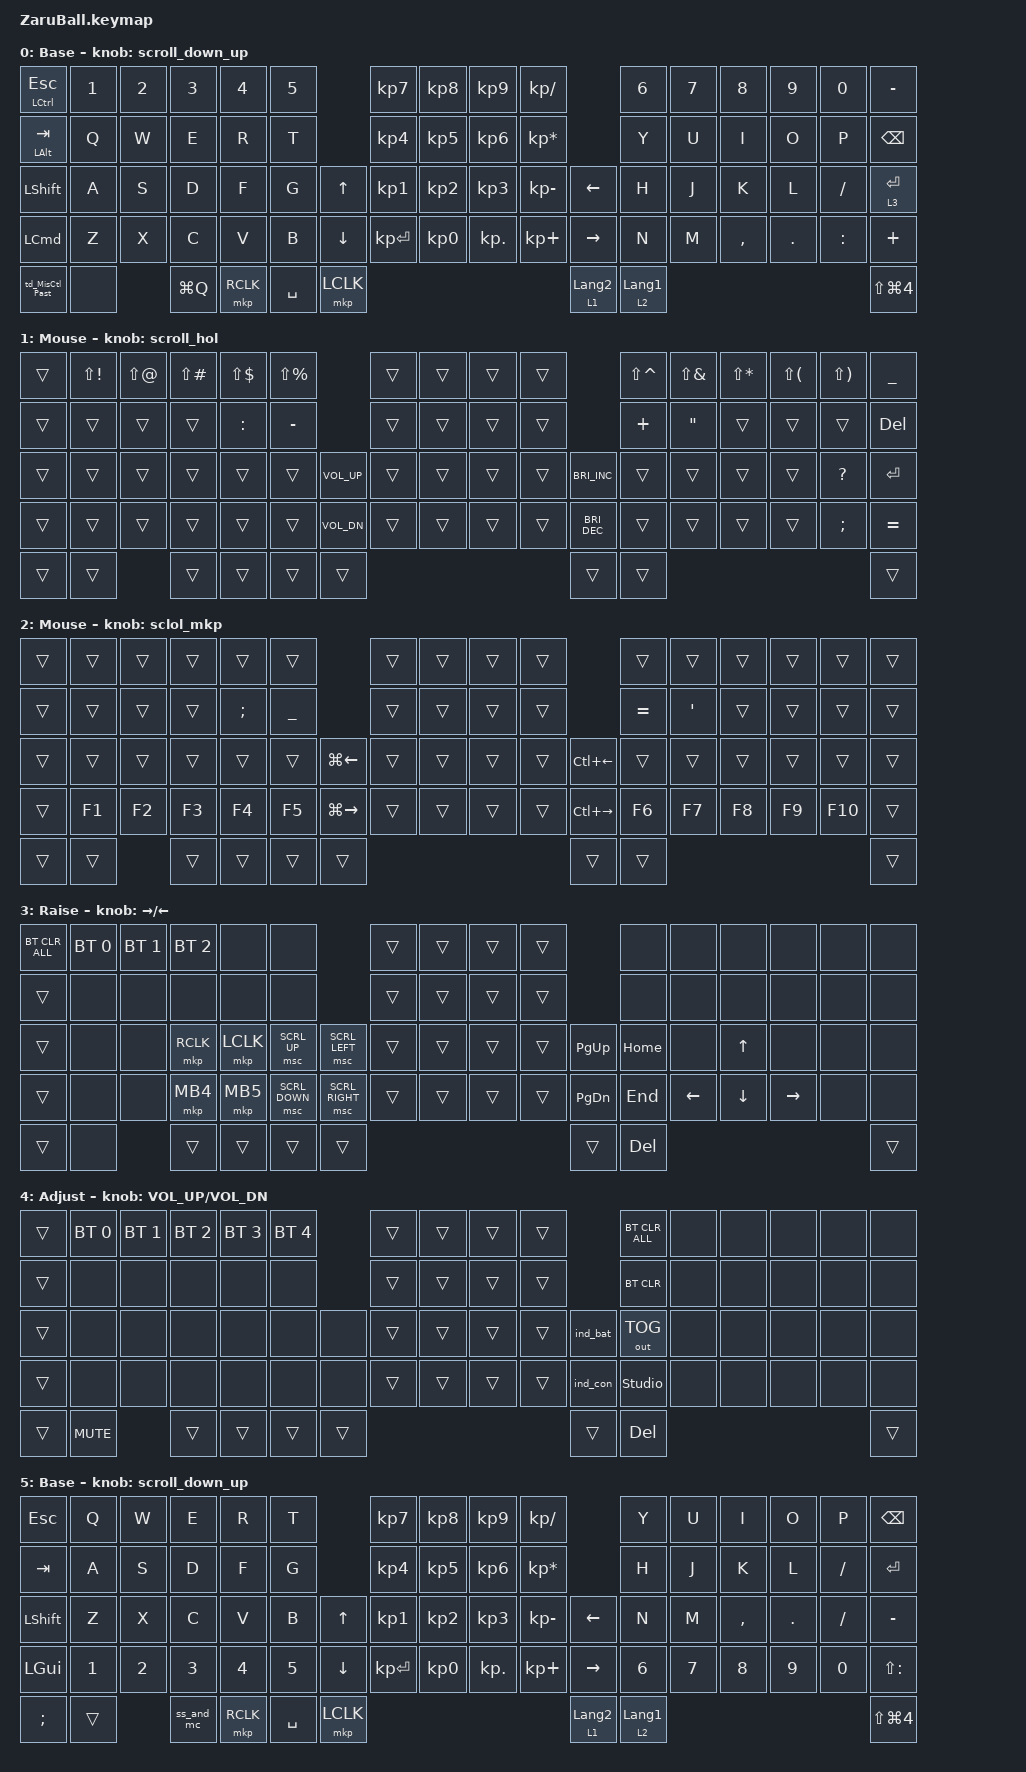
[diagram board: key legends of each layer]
//#include <dt-bindings/zmk/mouse.h>

#include <behaviors/rgbled_widget.dtsi>
#include <input/processors.dtsi>
#include <dt-bindings/zmk/input_transform.h>
#include <behaviors.dtsi>
#include <dt-bindings/zmk/bt.h>
#include <dt-bindings/zmk/keys.h>
#include <dt-bindings/zmk/outputs.h>
#include <dt-bindings/zmk/pointing.h>

#define BASE     0
#define MOUSE    1
#define LOWER    2
#define RAISE    3
#define ADJUST   4
#define SCROLL   2
#define JP_DQUOTE       AT                // "
#define JP_AMPERSAND    CARET             // &
#define JP_QUOTE        AMPERSAND         // '
#define JP_EQUAL        UNDER             // =
#define JP_CARET        EQUAL             // ^
#define JP_YEN          0x89              // ¥
#define JP_PLUS         COLON             // +
#define JP_TILDE        PLUS              // ~
#define JP_PIPE         LS(0x89)          // |
#define JP_AT           LEFT_BRACKET      // @
#define JP_COLON        SINGLE_QUOTE      // :
#define JP_ASTERISK     DOUBLE_QUOTES     // *
#define JP_BACKQUOTE    LEFT_BRACE        // `
#define JP_UNDERSCORE   LS(0x87)          // _
#define JP_LBRACKET     RIGHT_BRACKET     // [
#define JP_RBRACKET     BACKSLASH         // ]
#define JP_LPAREN       ASTERISK          // (
#define JP_RPAREN       LEFT_PARENTHESIS  // )
#define JP_LBRACE       RIGHT_BRACE       // {
#define JP_RBRACE       PIPE              // }
#define JP_KANA         LANGUAGE_1        // かな
#define JP_EISU         LANGUAGE_2        // 英数
#define JP_HANZEN       GRAVE             // 半角/全角
#define JP_BSLH  INT1         // (backslash)

// スクロール量の設定

#define ZMK_POINTING_DEFAULT_SCRL_VAL 100

&trackball_listener {
    input-processors = <
                         &zip_xy_transform (INPUT_TRANSFORM_XY_SWAP | INPUT_TRANSFORM_Y_INVERT | INPUT_TRANSFORM_X_INVERT)
                         // &zip_temp_layer MOUSE 500   // ← これを消す / コメントアウト
    >;

    scroller {
        layers = <SCROLL>;
        input-processors = <
                            &zip_xy_transform (INPUT_TRANSFORM_XY_SWAP | INPUT_TRANSFORM_X_INVERT)
                            &zip_xy_scaler 1 20
                            &zip_xy_to_scroll_mapper
        >;
    };
};

/ {
    conditional_layers {
        compatible = "zmk,conditional-layers";

        tri_layer {
            if-layers = <3 3>;
            then-layer = <4>;
        };
    };
};

/ {
    behaviors {
        // スクロール用のbehaviorの設定

        scroll_down_up: behavior_sensor_rotate_mouse_wheel_down_up {
            compatible = "zmk,behavior-sensor-rotate";
            #sensor-binding-cells = <0>;
            bindings = <&msc SCRL_DOWN>, <&msc SCRL_UP>;

            tap-ms = <20>; // スクロールのタップ時間
        };

        td0: tap_dance_0 {
            compatible = "zmk,behavior-tap-dance";
            #binding-cells = <0>;
            tapping-term-ms = <200>;
            bindings = <&mt LALT LANG2>, <&mo 3>, <&mo 1>;
        };

        td1: tap_dance_1 {
            compatible = "zmk,behavior-tap-dance";
            #binding-cells = <0>;
            tapping-term-ms = <200>;
            bindings = <&mt RCTL LANG1>, <&mo 3>, <&mo 1>;
        };

        // Customed Hold-Tap for SandS

        td_MisCtl_Past: td_MisCtl_Past {
            compatible = "zmk,behavior-tap-dance";
            #binding-cells = <0>;
            tapping-term-ms = <200>;
            bindings = <&kp LC(UP_ARROW)>, <&kp LS(LG(V))>, <&none>;

            label = "TD_MISCTL_PAST";
        };

        scroll_hol: scroll_hol {
            compatible = "zmk,behavior-sensor-rotate";
            #sensor-binding-cells = <0>;
            bindings = <&msc SCRL_RIGHT>, <&msc SCRL_LEFT>;

            tap-ms = <20>;
            label = "SCROLL_HOL";
        };

        ss_and_mc: ss_and_mc {
            compatible = "zmk,behavior-tap-dance";
            label = "SS_AND_MC";
            #binding-cells = <0>;
            bindings = <&kp LC(UP_ARROW)>, <&kp LS(LG(V))>;
        };

        paste_missin: paste_missin {
            compatible = "zmk,behavior-tap-dance";
            label = "PASTE_MISSIN";
            #binding-cells = <0>;
            bindings = <&kp LC(UP)>, <&kp LG(LS(V))>;
        };

        mo_and_kp: mo_and_kp {
            compatible = "zmk,behavior-hold-tap";
            label = "MO_AND_KP";
            bindings = <&mo>, <&mkp>;

            #binding-cells = <2>;
            tapping-term-ms = <150>;
        };

        sclol_mkp: sclol_mkp {
            compatible = "zmk,behavior-sensor-rotate";
            label = "SCLOL_MKP";
            #sensor-binding-cells = <0>;
            bindings = <&mkp MB4>, <&mkp MB5>;
        };
    };
};

&sl { release-after-ms = <250>; }; // time needed for double click (for mkp_exit_AML)
/ {
    macros {
        // When in AML, move to default layer when key (except mouse button) pressed
        // When LCLK pressed, exit AML (after 250ms cause by sticky layer
    };
};

/ {
    combos {
        compatible = "zmk,combos";

        middle {
            bindings = <&mkp MCLK>;
            key-positions = <72 73>;
        };

        maru_kakko {
            bindings = <&kp LEFT_PARENTHESIS>;
            key-positions = <10 11>;
        };

        maru-kakko2 {
            bindings = <&kp RIGHT_PARENTHESIS>;
            key-positions = <11 12>;
        };

        ja-kakko {
            bindings = <&kp LEFT_BRACKET>;
            key-positions = <26 27>;
        };

        ja-kakko2 {
            bindings = <&kp RIGHT_BRACKET>;
            key-positions = <27 28>;
        };

        kado-kakko {
            bindings = <&kp LESS_THAN>;
            key-positions = <44 45>;
        };

        kado-kakko2 {
            bindings = <&kp GREATER_THAN>;
            key-positions = <45 46>;
        };

        esc {
            bindings = <&kp ESCAPE>;
            key-positions = <20 19>;
        };

        tab {
            bindings = <&kp TAB>;
            key-positions = <19 18>;
        };
    };

    keymap {
        compatible = "zmk,keymap";

        base_layer {
            display-name = "Base";
            sensor-bindings = <&scroll_down_up>;
            bindings = <
&mt LEFT_CONTROL ESCAPE  &kp N1  &kp N2  &kp N3     &kp N4     &kp N5                       &kp KP_N7     &kp KP_N8  &kp KP_N9   &kp KP_DIVIDE                        &kp N6            &kp N7  &kp N8     &kp N9   &kp N0     &kp MINUS
&mt LEFT_ALT TAB         &kp Q   &kp W   &kp E      &kp R      &kp T                        &kp KP_N4     &kp KP_N5  &kp KP_N6   &kp KP_MULTIPLY                      &kp Y             &kp U   &kp I      &kp O    &kp P      &kp BACKSPACE
&kp LEFT_SHIFT           &kp A   &kp S   &kp D      &kp F      &kp G      &kp UP_ARROW      &kp KP_N1     &kp KP_N2  &kp KP_N3   &kp KP_MINUS       &kp LEFT          &kp H             &kp J   &kp K      &kp L    &kp FSLH   &lt 3 ENTER
&kp LEFT_COMMAND         &kp Z   &kp X   &kp C      &kp V      &kp B      &kp DOWN_ARROW    &kp KP_ENTER  &kp KP_N0  &kp KP_DOT  &kp KP_PLUS        &kp RIGHT         &kp N             &kp M   &kp COMMA  &kp DOT  &kp COLON  &kp PLUS
&td_MisCtl_Past          &none           &kp LG(Q)  &mkp RCLK  &kp SPACE  &mkp LCLK                                                                 &lt 1 LANGUAGE_2  &lt 2 LANGUAGE_1                                         &kp LS(LG(NUMBER_4))
            >;
        };

        mouse_layer {
            display-name = "Mouse";
            sensor-bindings = <&scroll_hol>;
            bindings = <
&trans  &kp LS(EXCL)  &kp LS(AT)  &kp LS(POUND)  &kp LS(DLLR)  &kp LS(PRCNT)                  &trans  &trans  &trans  &trans                          &kp LS(CARET)  &kp LS(AMPS)       &kp LS(STAR)  &kp LS(LPAR)  &kp LS(RPAR)   &kp UNDERSCORE
&trans  &trans        &trans      &trans         &kp COLON     &kp MINUS                      &trans  &trans  &trans  &trans                          &kp PLUS       &kp DOUBLE_QUOTES  &trans        &trans        &trans         &kp DEL
&trans  &trans        &trans      &trans         &trans        &trans         &kp C_VOL_UP    &trans  &trans  &trans  &trans    &kp C_BRIGHTNESS_INC  &trans         &trans             &trans        &trans        &kp QUESTION   &kp ENTER
&trans  &trans        &trans      &trans         &trans        &trans         &kp C_VOL_DN    &trans  &trans  &trans  &trans    &kp C_BRIGHTNESS_DEC  &trans         &trans             &trans        &trans        &kp SEMICOLON  &kp EQUAL
&trans  &trans                    &trans         &trans        &trans         &trans                                            &trans                &trans                                                                       &trans
            >;
        };

        Fn_layer {
            display-name = "Mouse";
            bindings = <
&trans  &trans  &trans  &trans  &trans         &trans                           &trans  &trans  &trans  &trans                        &trans     &trans   &trans  &trans  &trans   &trans
&trans  &trans  &trans  &trans  &kp SEMICOLON  &kp UNDERSCORE                   &trans  &trans  &trans  &trans                        &kp EQUAL  &kp SQT  &trans  &trans  &trans   &trans
&trans  &trans  &trans  &trans  &trans         &trans          &kp LG(LEFT)     &trans  &trans  &trans  &trans    &kp LC(LEFT_ARROW)  &trans     &trans   &trans  &trans  &trans   &trans
&trans  &kp F1  &kp F2  &kp F3  &kp F4         &kp F5          &kp LG(RIGHT)    &trans  &trans  &trans  &trans    &kp LC(RIGHT)       &kp F6     &kp F7   &kp F8  &kp F9  &kp F10  &trans
&trans  &trans          &trans  &trans         &trans          &trans                                             &trans              &trans                                       &trans
            >;

            sensor-bindings = <&sclol_mkp>;
        };

        raise_layer {
            display-name = "Raise";
            sensor-bindings = <&inc_dec_kp RIGHT LEFT>;
            bindings = <
&bt BT_CLR_ALL  &bt BT_SEL 0  &bt BT_SEL 1  &bt BT_SEL 2  &none      &none                              &trans  &trans  &trans  &trans               &none     &none     &none     &none      &none  &none
&trans          &none         &none         &none         &none      &none                              &trans  &trans  &trans  &trans               &none     &none     &none     &none      &none  &none
&trans          &none         &none         &mkp RCLK     &mkp LCLK  &msc SCRL_UP    &msc SCRL_LEFT     &trans  &trans  &trans  &trans    &kp PG_UP  &kp HOME  &none     &kp UP    &none      &none  &none
&trans          &none         &none         &mkp MB4      &mkp MB5   &msc SCRL_DOWN  &msc SCRL_RIGHT    &trans  &trans  &trans  &trans    &kp PG_DN  &kp END   &kp LEFT  &kp DOWN  &kp RIGHT  &none  &none
&trans          &none                       &trans        &trans     &trans          &trans                                               &trans     &kp DEL                                         &trans
            >;
        };

        adjust_layer {
            display-name = "Adjust";
            sensor-bindings = <&inc_dec_kp C_VOL_UP C_VOL_DN>;
            bindings = <
&trans  &bt BT_SEL 0  &bt BT_SEL 1  &bt BT_SEL 2  &bt BT_SEL 3  &bt BT_SEL 4            &trans  &trans  &trans  &trans              &bt BT_CLR_ALL  &none  &none  &none  &none  &none
&trans  &none         &none         &none         &none         &none                   &trans  &trans  &trans  &trans              &bt BT_CLR      &none  &none  &none  &none  &none
&trans  &none         &none         &none         &none         &none         &none     &trans  &trans  &trans  &trans    &ind_bat  &out OUT_TOG    &none  &none  &none  &none  &none
&trans  &none         &none         &none         &none         &none         &none     &trans  &trans  &trans  &trans    &ind_con  &studio_unlock  &none  &none  &none  &none  &none
&trans  &kp C_MUTE                  &trans        &trans        &trans        &trans                                      &trans    &kp DEL                                     &trans
            >;
        };

        extra1 { status = "reserved"; };

        extra2 { status = "reserved"; };

        layer_7 {
            display-name = "Base";
            bindings = <
&kp ESC    &kp Q   &kp W   &kp E       &kp R      &kp T                        &kp KP_N7     &kp KP_N8  &kp KP_N9   &kp KP_DIVIDE                        &kp Y             &kp U   &kp I      &kp O    &kp P     &kp BACKSPACE
&kp TAB    &kp A   &kp S   &kp D       &kp F      &kp G                        &kp KP_N4     &kp KP_N5  &kp KP_N6   &kp KP_MULTIPLY                      &kp H             &kp J   &kp K      &kp L    &kp FSLH  &kp ENTER
&kp LSHFT  &kp Z   &kp X   &kp C       &kp V      &kp B      &kp UP_ARROW      &kp KP_N1     &kp KP_N2  &kp KP_N3   &kp KP_MINUS       &kp LEFT          &kp N             &kp M   &kp COMMA  &kp DOT  &kp FSLH  &kp MINUS
&kp LGUI   &kp N1  &kp N2  &kp N3      &kp N4     &kp N5     &kp DOWN_ARROW    &kp KP_ENTER  &kp KP_N0  &kp KP_DOT  &kp KP_PLUS        &kp RIGHT         &kp N6            &kp N7  &kp N8     &kp N9   &kp N0    &kp LS(COLON)
&kp SEMI   &trans          &ss_and_mc  &mkp RCLK  &kp SPACE  &mkp LCLK                                                                 &lt 1 LANGUAGE_2  &lt 2 LANGUAGE_1                                        &kp LS(LG(NUMBER_4))
            >;

            sensor-bindings = <&scroll_down_up>;
        };
    };
};
